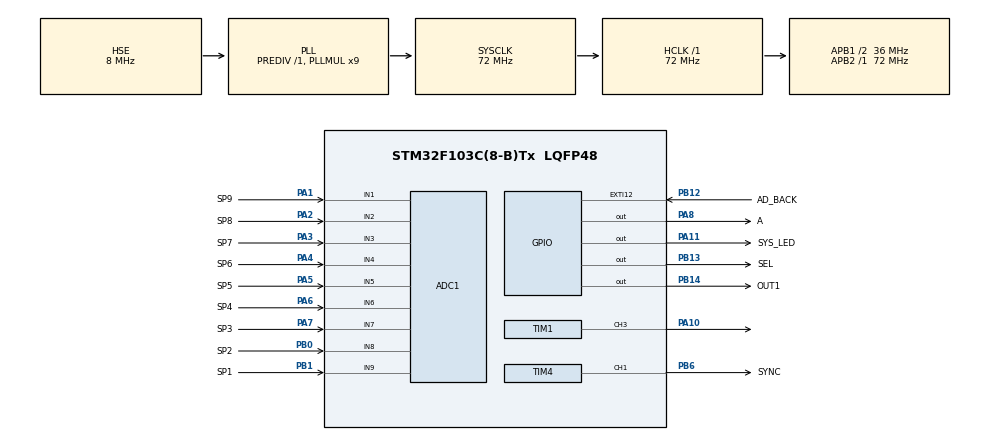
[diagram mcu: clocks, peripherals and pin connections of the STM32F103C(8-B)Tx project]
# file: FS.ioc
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ADC1.Channel-0\#ChannelRegularConversion=ADC_CHANNEL_1
ADC1.Channel-1\#ChannelRegularConversion=ADC_CHANNEL_2
ADC1.Channel-2\#ChannelRegularConversion=ADC_CHANNEL_3
ADC1.Channel-3\#ChannelRegularConversion=ADC_CHANNEL_4
ADC1.Channel-4\#ChannelRegularConversion=ADC_CHANNEL_5
ADC1.Channel-5\#ChannelRegularConversion=ADC_CHANNEL_6
ADC1.Channel-6\#ChannelRegularConversion=ADC_CHANNEL_7
ADC1.Channel-7\#ChannelRegularConversion=ADC_CHANNEL_8
ADC1.Channel-8\#ChannelRegularConversion=ADC_CHANNEL_9
ADC1.ContinuousConvMode=ENABLE
ADC1.NbrOfConversion=9
ADC1.NbrOfConversionFlag=1
ADC1.Rank-0\#ChannelRegularConversion=1
ADC1.Rank-1\#ChannelRegularConversion=2
ADC1.Rank-2\#ChannelRegularConversion=3
ADC1.Rank-3\#ChannelRegularConversion=4
ADC1.Rank-4\#ChannelRegularConversion=5
ADC1.Rank-5\#ChannelRegularConversion=6
ADC1.Rank-6\#ChannelRegularConversion=7
ADC1.Rank-7\#ChannelRegularConversion=8
ADC1.Rank-8\#ChannelRegularConversion=9
ADC1.SamplingTime-0\#ChannelRegularConversion=ADC_SAMPLETIME_239CYCLES_5
ADC1.SamplingTime-1\#ChannelRegularConversion=ADC_SAMPLETIME_239CYCLES_5
ADC1.SamplingTime-2\#ChannelRegularConversion=ADC_SAMPLETIME_239CYCLES_5
ADC1.SamplingTime-3\#ChannelRegularConversion=ADC_SAMPLETIME_239CYCLES_5
ADC1.SamplingTime-4\#ChannelRegularConversion=ADC_SAMPLETIME_239CYCLES_5
ADC1.SamplingTime-5\#ChannelRegularConversion=ADC_SAMPLETIME_239CYCLES_5
ADC1.SamplingTime-6\#ChannelRegularConversion=ADC_SAMPLETIME_239CYCLES_5
ADC1.SamplingTime-7\#ChannelRegularConversion=ADC_SAMPLETIME_239CYCLES_5
ADC1.SamplingTime-8\#ChannelRegularConversion=ADC_SAMPLETIME_239CYCLES_5
ADC1.master=1
Dma.ADC1.0.Direction=DMA_PERIPH_TO_MEMORY
Dma.ADC1.0.Instance=DMA1_Channel1
Dma.ADC1.0.MemDataAlignment=DMA_MDATAALIGN_HALFWORD
Dma.ADC1.0.MemInc=DMA_MINC_ENABLE
Dma.ADC1.0.Mode=DMA_CIRCULAR
Dma.ADC1.0.PeriphDataAlignment=DMA_PDATAALIGN_HALFWORD
Dma.ADC1.0.PeriphInc=DMA_PINC_DISABLE
Dma.ADC1.0.Priority=DMA_PRIORITY_LOW
Dma.Request0=ADC1
Mcu.Family=STM32F1
Mcu.Name=STM32F103C(8-B)Tx
Mcu.Package=LQFP48
NVIC.ADC1_2_IRQn=true\:0\:0\:false\:false\:true\:true\:true\:true
NVIC.DMA1_Channel1_IRQn=true\:0\:0\:false\:false\:true\:false\:true\:true
NVIC.EXTI15_10_IRQn=true\:0\:0\:false\:false\:true\:true\:true\:true
NVIC.PriorityGroup=NVIC_PRIORITYGROUP_4
NVIC.TIM4_IRQn=true\:0\:0\:false\:false\:true\:true\:true\:true
PA1.GPIO_Label=SP9
PA1.Signal=ADCx_IN1
PA10.Signal=S_TIM1_CH3
PA11.GPIO_Label=SYS_LED
PA11.GPIO_PuPd=GPIO_NOPULL
PA11.GPIO_Speed=GPIO_SPEED_FREQ_MEDIUM
PA11.PinState=GPIO_PIN_SET
PA11.Signal=GPIO_Output
PA13.Mode=Serial_Wire
PA13.Signal=SYS_JTMS-SWDIO
PA14.Mode=Serial_Wire
PA14.Signal=SYS_JTCK-SWCLK
PA2.GPIO_Label=SP8
PA2.Signal=ADCx_IN2
PA3.GPIO_Label=SP7
PA3.Signal=ADCx_IN3
PA4.GPIO_Label=SP6
PA4.Signal=ADCx_IN4
PA5.GPIO_Label=SP5
PA5.Signal=ADCx_IN5
PA6.GPIO_Label=SP4
PA6.Signal=ADCx_IN6
PA7.GPIO_Label=SP3
PA7.Signal=ADCx_IN7
PA8.GPIO_Label=A
PA8.GPIO_Speed=GPIO_SPEED_FREQ_HIGH
PA8.PinState=GPIO_PIN_RESET
PA8.Signal=GPIO_Output
PB0.GPIO_Label=SP2
PB0.Signal=ADCx_IN8
PB1.GPIO_Label=SP1
PB1.Signal=ADCx_IN9
PB12.GPIO_Label=AD_BACK
PB12.GPIO_ModeDefaultEXTI=GPIO_MODE_IT_RISING_FALLING
PB12.GPIO_PuPd=GPIO_PULLDOWN
PB12.Signal=GPXTI12
PB13.GPIO_Label=SEL
PB13.GPIO_Speed=GPIO_SPEED_FREQ_HIGH
PB13.Signal=GPIO_Output
PB14.GPIO_Label=OUT1
PB14.GPIO_PuPd=GPIO_PULLUP
PB14.GPIO_Speed=GPIO_SPEED_FREQ_HIGH
PB14.PinState=GPIO_PIN_SET
PB14.Signal=GPIO_Output
PB6.GPIO_Label=SYNC
PB6.GPIO_Speed=GPIO_SPEED_FREQ_HIGH
PB6.Signal=S_TIM4_CH1
PD0-OSC_IN.Mode=HSE-External-Oscillator
PD0-OSC_IN.Signal=RCC_OSC_IN
PD1-OSC_OUT.Mode=HSE-External-Oscillator
PD1-OSC_OUT.Signal=RCC_OSC_OUT
ProjectManager.HeapSize=0x200
ProjectManager.StackSize=0x400
ProjectManager.TargetToolchain=MDK-ARM V5.32
RCC.ADCPresc=RCC_ADCPCLK2_DIV6
RCC.AHBFreq_Value=72000000
RCC.APB1CLKDivider=RCC_HCLK_DIV2
RCC.APB1Freq_Value=36000000
RCC.APB1TimFreq_Value=72000000
RCC.APB2Freq_Value=72000000
RCC.APB2TimFreq_Value=72000000
RCC.HCLKFreq_Value=72000000
RCC.PLLMUL=RCC_PLL_MUL9
RCC.PLLSourceVirtual=RCC_PLLSOURCE_HSE
RCC.SYSCLKFreq_VALUE=72000000
RCC.SYSCLKSource=RCC_SYSCLKSOURCE_PLLCLK
RCC.USBFreq_Value=72000000
SH.ADCx_IN1.0=ADC1_IN1,IN1
SH.ADCx_IN2.0=ADC1_IN2,IN2
SH.ADCx_IN3.0=ADC1_IN3,IN3
SH.ADCx_IN4.0=ADC1_IN4,IN4
SH.ADCx_IN5.0=ADC1_IN5,IN5
SH.ADCx_IN6.0=ADC1_IN6,IN6
SH.ADCx_IN7.0=ADC1_IN7,IN7
SH.ADCx_IN8.0=ADC1_IN8,IN8
SH.ADCx_IN9.0=ADC1_IN9,IN9
SH.S_TIM1_CH3.0=TIM1_CH3,PWM Generation3 CH3
SH.S_TIM4_CH1.0=TIM4_CH1,PWM Generation1 CH1
TIM1.AutoReloadPreload=TIM_AUTORELOAD_PRELOAD_ENABLE
TIM1.Channel-PWM\ Generation3\ CH3=TIM_CHANNEL_3
TIM1.Period=10-1
TIM1.Prescaler=72-1
TIM4.AutoReloadPreload=TIM_AUTORELOAD_PRELOAD_ENABLE
TIM4.Channel-PWM\ Generation1\ CH1=TIM_CHANNEL_1
TIM4.Period=10-1
TIM4.Prescaler=72-1
TIM4.Pulse-PWM\ Generation1\ CH1=2
VP_TIM1_VS_ClockSourceINT.Mode=Internal
VP_TIM4_VS_ClockSourceINT.Mode=Internal
board=custom

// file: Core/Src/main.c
/* USER CODE BEGIN Header */
/**
 ******************************************************************************
 * @file           : main.c
 * @brief          : Main program body
 ******************************************************************************
 * @attention
 *
 * Copyright (c) 2024 STMicroelectronics.
 * All rights reserved.
 *
 * This software is licensed under terms that can be found in the LICENSE file
 * in the root directory of this software component.
 * If no LICENSE file comes with this software, it is provided AS-IS.
 *
 ******************************************************************************
 */
/* USER CODE END Header */
#include "main.h"
#include "adc.h"
#include "dma.h"
#include "tim.h"
#include "gpio.h"

/* USER CODE BEGIN Includes */
extern float adc_voltages[ADC_CHANNEL_COUNT];
extern volatile uint16_t adc_values[9];
extern uint16_t error_flag ;
uint8_t External_exception = 0;
/* USER CODE END Includes */

void SystemClock_Config(void);

int main(void)
{

  /* MCU Configuration--------------------------------------------------------*/

  /* Reset of all peripherals, Initializes the Flash interface and the Systick. */
  HAL_Init();

  /* Configure the system clock */
  SystemClock_Config();

  /* USER CODE BEGIN SysInit */
  HAL_Delay_us_init(72);
  /* USER CODE END SysInit */

  /* Initialize all configured peripherals */
  MX_GPIO_Init();
  MX_DMA_Init();
  MX_TIM4_Init();
  MX_ADC1_Init();
  MX_TIM1_Init();
  /* USER CODE BEGIN 2 */

  HAL_TIM_PWM_Start(&htim4, TIM_CHANNEL_1);
  HAL_TIM_Base_Start_IT(&htim4);

  __HAL_TIM_SET_COUNTER(&htim1, 8); // 改变相位
  HAL_TIM_PWM_Start(&htim1, TIM_CHANNEL_3);
  HAL_ADCEx_Calibration_Start(&hadc1);
  HAL_ADC_Start_DMA(&hadc1, (uint32_t*)adc_values, ADC_CHANNEL_COUNT);
  /* USER CODE END 2 */

  /* Infinite loop */
  /* USER CODE BEGIN WHILE */
  while (1)
  {
    if(adc_voltages[8]>VOLTAGE_LOWER_LIMIT){
      HAL_GPIO_TogglePin(SEL_GPIO_Port, SEL_Pin);
      HAL_Delay(10);
    }
    if ((error_flag||External_exception) != 0)
    {
      HAL_GPIO_WritePin(OUT1_GPIO_Port, OUT1_Pin, GPIO_PIN_SET); // 恢复正常
    }
    else
    {
      HAL_GPIO_WritePin(OUT1_GPIO_Port, OUT1_Pin, GPIO_PIN_RESET); // 告警
    } // 等待信号稳定
  }

    /* USER CODE END WHILE */

}

void SystemClock_Config(void)
{
  RCC_OscInitTypeDef RCC_OscInitStruct = {0};
  RCC_ClkInitTypeDef RCC_ClkInitStruct = {0};
  RCC_PeriphCLKInitTypeDef PeriphClkInit = {0};

  /** Initializes the RCC Oscillators according to the specified parameters
  * in the RCC_OscInitTypeDef structure.
  */
  RCC_OscInitStruct.OscillatorType = RCC_OSCILLATORTYPE_HSE;
  RCC_OscInitStruct.HSEState = RCC_HSE_ON;
  RCC_OscInitStruct.HSEPredivValue = RCC_HSE_PREDIV_DIV1;
  RCC_OscInitStruct.HSIState = RCC_HSI_ON;
  RCC_OscInitStruct.PLL.PLLState = RCC_PLL_ON;
  RCC_OscInitStruct.PLL.PLLSource = RCC_PLLSOURCE_HSE;
  RCC_OscInitStruct.PLL.PLLMUL = RCC_PLL_MUL9;
  if (HAL_RCC_OscConfig(&RCC_OscInitStruct) != HAL_OK)
  {
    Error_Handler();
  }

  /** Initializes the CPU, AHB and APB buses clocks
  */
  RCC_ClkInitStruct.ClockType = RCC_CLOCKTYPE_HCLK|RCC_CLOCKTYPE_SYSCLK
                              |RCC_CLOCKTYPE_PCLK1|RCC_CLOCKTYPE_PCLK2;
  RCC_ClkInitStruct.SYSCLKSource = RCC_SYSCLKSOURCE_PLLCLK;
  RCC_ClkInitStruct.AHBCLKDivider = RCC_SYSCLK_DIV1;
  RCC_ClkInitStruct.APB1CLKDivider = RCC_HCLK_DIV2;
  RCC_ClkInitStruct.APB2CLKDivider = RCC_HCLK_DIV1;

  if (HAL_RCC_ClockConfig(&RCC_ClkInitStruct, FLASH_LATENCY_2) != HAL_OK)
  {
    Error_Handler();
  }
  PeriphClkInit.PeriphClockSelection = RCC_PERIPHCLK_ADC;
  PeriphClkInit.AdcClockSelection = RCC_ADCPCLK2_DIV6;
  if (HAL_RCCEx_PeriphCLKConfig(&PeriphClkInit) != HAL_OK)
  {
    Error_Handler();
  }
}

void Error_Handler(void)
{
  __disable_irq();
  while (1)
  {
  }
}
